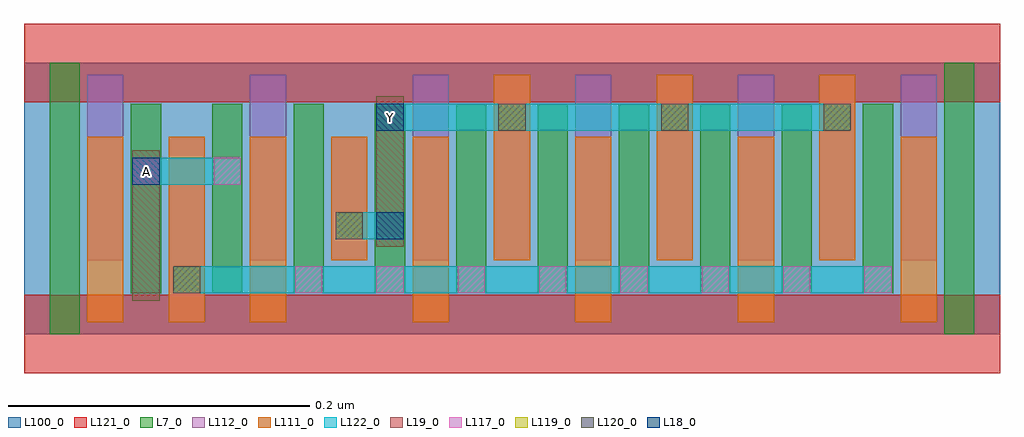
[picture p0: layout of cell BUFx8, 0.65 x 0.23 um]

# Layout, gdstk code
import gdstk
lib = gdstk.Library(unit=1e-6, precision=2.5e-10)
def R(c, l, rs):  # rectangles x0, y0, x1, y1
    for r in rs: c.add(gdstk.rectangle(r[:2], r[2:], *l))
def A(c, l, x, y, w, h, nx, ny, dx, dy):  # array of equal rectangles
    R(c, l, [(x+i*dx, y+j*dy, x+i*dx+w, y+j*dy+h) for i in range(nx) for j in range(ny)])
L7_0 = (7, 0)
L18_0 = (18, 0)
L19_0 = (19, 0)
L100_0 = (100, 0)
L111_0 = (111, 0)
L112_0 = (112, 0)
L117_0 = (117, 0)
L119_0 = (119, 0)
L120_0 = (120, 0)
L121_0 = (121, 0)
L122_0 = (122, 0)

bufx8 = lib.new_cell('BUFx8')
A(bufx8, L7_0, 0.071, 0.027, 0.02, 0.126, 10, 1, 0.054, 0)
R(bufx8, L7_0, [(0.017,0,0.037,0.18), (0.611,0,0.631,0.18)])
R(bufx8, L18_0, [(0.234,0.063,0.252,0.081), (0.072,0.099,0.09,0.117), (0.234,0.135,0.252,0.153)])
R(bufx8, L19_0, [(0.072,0.022,0.09,0.122), (0.234,0.058,0.252,0.158)])
R(bufx8, L100_0, [(0,0,0.648,0.18)])
A(bufx8, L111_0, 0.042, 0.008, 0.024, 0.123, 3, 1, 0.054, 0)
A(bufx8, L111_0, 0.258, 0.008, 0.024, 0.123, 4, 1, 0.108, 0)
A(bufx8, L111_0, 0.312, 0.049, 0.024, 0.123, 3, 1, 0.108, 0)
R(bufx8, L111_0, [(0.204,0.049,0.228,0.131)])
A(bufx8, L112_0, 0.042, 0.049, 0.024, 0.123, 3, 1, 0.108, 0)
A(bufx8, L112_0, 0.312, 0.049, 0.024, 0.123, 6, 1, 0.054, 0)
R(bufx8, L112_0, [(0.096,0.008,0.12,0.131), (0.204,0.049,0.228,0.131)])
A(bufx8, L117_0, 0.18, 0.027, 0.018, 0.018, 8, 1, 0.054, 0)
R(bufx8, L117_0, [(0.072,0.099,0.09,0.117), (0.126,0.099,0.144,0.117)])
A(bufx8, L119_0, 0.315, 0.135, 0.018, 0.018, 3, 1, 0.108, 0)
R(bufx8, L119_0, [(0.099,0.027,0.117,0.045), (0.207,0.063,0.225,0.081)])
A(bufx8, L120_0, 0.315, 0.135, 0.018, 0.018, 3, 1, 0.108, 0)
R(bufx8, L120_0, [(0.099,0.027,0.117,0.045), (0.207,0.063,0.225,0.081)])
R(bufx8, L121_0, [(0,-0.026,0.648,0.026), (0,0.154,0.648,0.206)])
R(bufx8, L122_0, [(0.099,0.027,0.576,0.045), (0.207,0.063,0.252,0.081), (0.072,0.099,0.144,0.117), (0.234,0.135,0.549,0.153)])
bufx8.add(gdstk.Label('Y', (0.243,0.144), layer=19, texttype=251))
bufx8.add(gdstk.Label('A', (0.081,0.108), layer=19, texttype=251))

lib.write_gds('BUFx8.gds')
